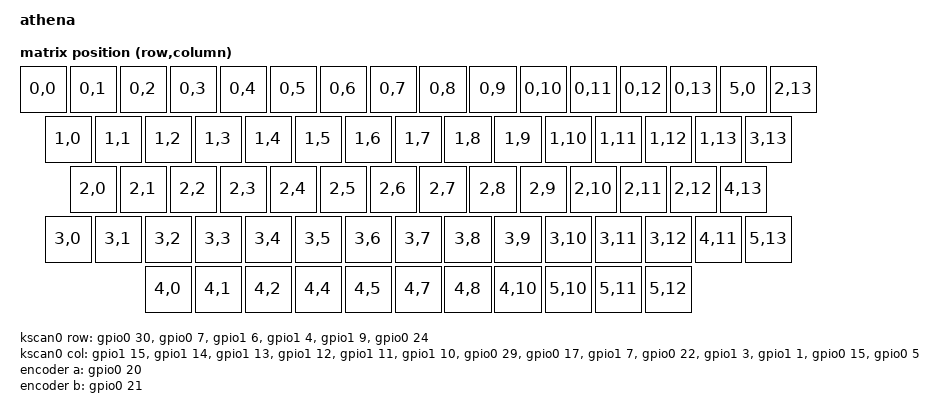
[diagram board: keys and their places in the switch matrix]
//athena.dts
// This file is the device tree source for the Athena keyboard.

/dts-v1/;

#include <nordic/nrf52840_qiaa.dtsi>
#include <dt-bindings/led/led.h>
#include <dt-bindings/zmk/matrix_transform.h>

#include "athena-pinctrl.dtsi"
#include "key_physical_attrs.dtsi"
#include "layout_athena.dtsi"

/ {
    model = "athena";
    compatible = "athena";

    chosen {
        zephyr,code-partition = &code_partition;
        zephyr,sram = &sram0;
        zephyr,flash = &flash0;
        zephyr,console = &cdc_acm_uart;
        zmk,battery = &vbatt;
        zmk,kscan = &kscan0;
        zmk,physical-layout = &athena_ansi_layout;
        zmk,underglow = &led_strip;
        zmk,keymap-sensors = <&sensors>;
    };

    sensors: sensors {
        compatible = "zmk,keymap-sensors";
        sensors = <&encoder>;
        triggers-per-rotation = <12>;
    };

    // Unified matrix transform that includes ALL possible key positions
    // This makes all layouts have the same number of keys (72 total)
    unified_transform: keymap_transform_0 {
        compatible = "zmk,matrix-transform";
        columns = <14>;
        rows = <6>;
        map = <
RC(0,0) RC(0,1) RC(0,2) RC(0,3) RC(0,4) RC(0,5) RC(0,6) RC(0,7) RC(0,8) RC(0,9) RC(0,10) RC(0,11) RC(0,12) RC(0,13) RC(5,0)       RC(2,13)
RC(1,0)   RC(1,1) RC(1,2) RC(1,3) RC(1,4) RC(1,5) RC(1,6) RC(1,7) RC(1,8) RC(1,9) RC(1,10) RC(1,11) RC(1,12) RC(1,13)             RC(3,13) 
RC(2,0)     RC(2,1) RC(2,2) RC(2,3) RC(2,4) RC(2,5) RC(2,6) RC(2,7) RC(2,8) RC(2,9) RC(2,10) RC(2,11)   RC(2,12)                  RC(4,13)     
RC(3,0) RC(3,1) RC(3,2) RC(3,3) RC(3,4) RC(3,5) RC(3,6) RC(3,7) RC(3,8) RC(3,9) RC(3,10) RC(3,11)     RC(3,12)  RC(4,11)          RC(5,13) 
RC(4,0)   RC(4,1)   RC(4,2)       RC(4,4)     RC(4,5)      RC(4,7)  RC(4,8)     RC(4,10)              RC(5,10)  RC(5,11)  RC(5,12) 
>;                    
    };

    kscan0: kscan {
        compatible = "zmk,kscan-gpio-matrix";
        wakeup-source;

        diode-direction = "col2row";
        row-gpios
            = <&gpio0 30 (GPIO_ACTIVE_HIGH | GPIO_PULL_DOWN)>
            , <&gpio0 7 (GPIO_ACTIVE_HIGH | GPIO_PULL_DOWN)>
            , <&gpio1 6 (GPIO_ACTIVE_HIGH | GPIO_PULL_DOWN)>
            , <&gpio1 4 (GPIO_ACTIVE_HIGH | GPIO_PULL_DOWN)>
            , <&gpio1 9 (GPIO_ACTIVE_HIGH | GPIO_PULL_DOWN)>
            , <&gpio0 24 (GPIO_ACTIVE_HIGH | GPIO_PULL_DOWN)>
            ;
        col-gpios =
            <&gpio1 15 (GPIO_ACTIVE_HIGH | GPIO_PULL_UP)>,
            <&gpio1 14 (GPIO_ACTIVE_HIGH | GPIO_PULL_UP)>,
            <&gpio1 13 (GPIO_ACTIVE_HIGH | GPIO_PULL_UP)>,
            <&gpio1 12 (GPIO_ACTIVE_HIGH | GPIO_PULL_UP)>,
            <&gpio1 11 (GPIO_ACTIVE_HIGH | GPIO_PULL_UP)>,
            <&gpio1 10 (GPIO_ACTIVE_HIGH | GPIO_PULL_UP)>,
            <&gpio0 29 (GPIO_ACTIVE_HIGH | GPIO_PULL_UP)>,
            <&gpio0 17 (GPIO_ACTIVE_HIGH | GPIO_PULL_UP)>,
            <&gpio1 7  (GPIO_ACTIVE_HIGH | GPIO_PULL_UP)>,
            <&gpio0 22 (GPIO_ACTIVE_HIGH | GPIO_PULL_UP)>,
            <&gpio1 3  (GPIO_ACTIVE_HIGH | GPIO_PULL_UP)>,
            <&gpio1 1  (GPIO_ACTIVE_HIGH | GPIO_PULL_UP)>,
            <&gpio0 15 (GPIO_ACTIVE_HIGH | GPIO_PULL_UP)>,
            <&gpio0 5  (GPIO_ACTIVE_HIGH | GPIO_PULL_UP)>;
    };

    leds {
        compatible = "gpio-leds";
        user_led: led_0 {
            gpios = <&gpio0 26 GPIO_ACTIVE_HIGH>;
            label = "User LED";
        };
    };

    aliases {
        indicator-led = &user_led;
    };

    encoder: encoder {
    compatible = "alps,ec11";
    a-gpios = <&gpio0 20 (GPIO_ACTIVE_HIGH | GPIO_PULL_UP)>;
    b-gpios = <&gpio0 21 (GPIO_ACTIVE_HIGH | GPIO_PULL_UP)>;
    steps = <12>;  
    status = "okay";
};

    EXT_POWER {
        compatible = "zmk,ext-power-generic";
        control-gpios = <&gpio0 6 GPIO_ACTIVE_LOW>;
    };

    vbatt: vbatt {
        compatible   = "zmk,battery-voltage-divider";
        io-channels  = <&adc 7>;
        output-ohms  = <510000>;
        full-ohms    = <1510000>;
    };
};

// Assign the unified transform to all physical layouts
&athena_ansi_layout {
    transform = <&unified_transform>;
    kscan = <&kscan0>;
};

&adc {
    status = "okay";
};

&gpiote {
    status = "okay";
};

&gpio0 {
    status = "okay";
};

&gpio1 {
    status = "okay";
};

&spi3 {
    compatible = "nordic,nrf-spim";
    status = "okay";

    pinctrl-0 = <&spi3_default>;
    pinctrl-1 = <&spi3_sleep>;
    pinctrl-names = "default", "sleep";

    led_strip: ws2812@0 {
        compatible = "worldsemi,ws2812-spi";
        label = "WS2812";

        reg = <0>;
        spi-max-frequency = <4000000>;

        chain-length = <74>;
        spi-one-frame = <0x70>;
        spi-zero-frame = <0x40>;
        color-mapping = <LED_COLOR_ID_GREEN
                         LED_COLOR_ID_RED
                         LED_COLOR_ID_BLUE>;
    };
};

zephyr_udc0: &usbd {
    status = "okay";
    cdc_acm_uart: cdc_acm_uart {
        compatible = "zephyr,cdc-acm-uart";
    };
};

&flash0 {
    partitions {
        compatible = "fixed-partitions";
        #address-cells = <1>;
        #size-cells = <1>;

        sd_partition: partition@0 {
            reg = <0x00000000 0x00001000>;
        };

        code_partition: partition@1000 {
            reg = <0x00001000 0x000d3000>;
        };

        storage_partition: partition@d4000 {
            reg = <0x000d4000 0x00020000>;
        };

        boot_partition: partition@f4000 {
            reg = <0x000f4000 0x0000c000>;
        };
    };
};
